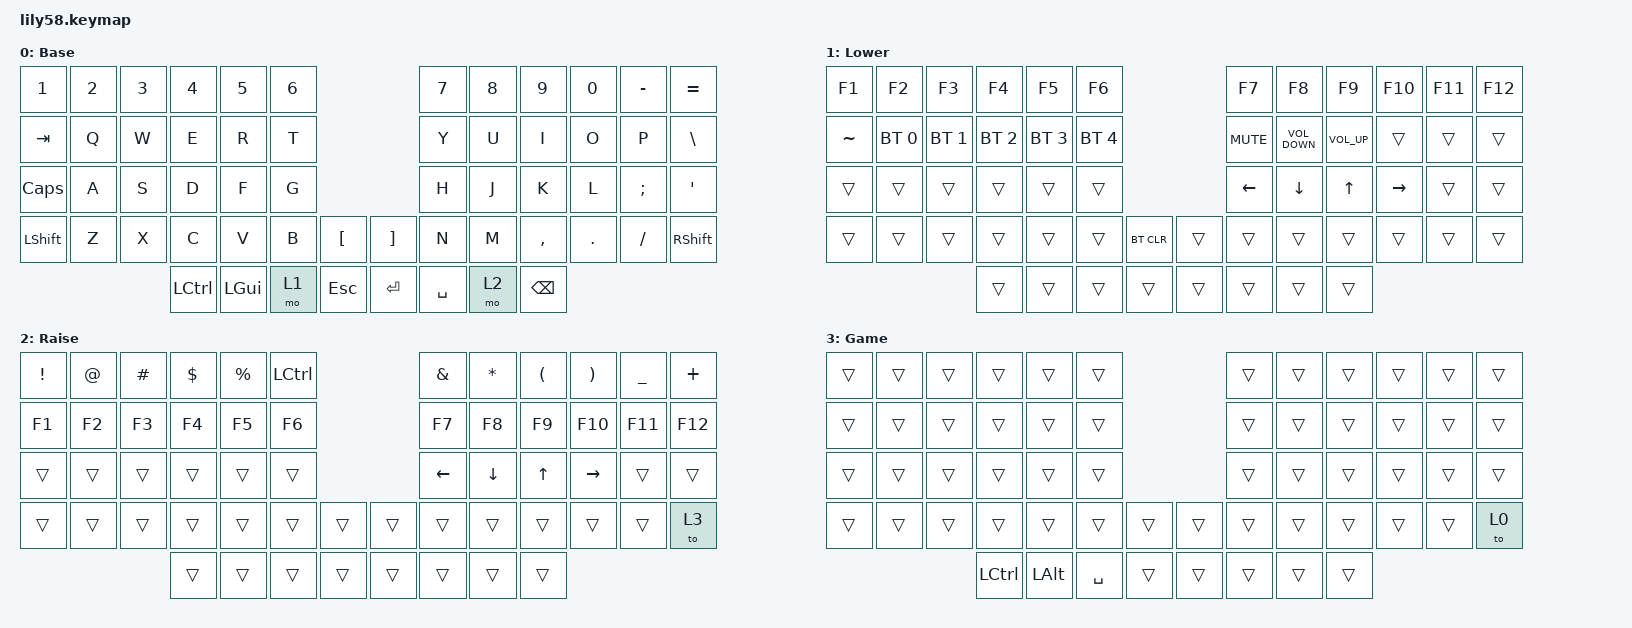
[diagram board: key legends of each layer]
/*
 * Copyright (c) 2020 The ZMK Contributors
 *
 * SPDX-License-Identifier: MIT
 */

#include <behaviors.dtsi>
#include <dt-bindings/zmk/bt.h>
#include <dt-bindings/zmk/keys.h>

/ {
    keymap {
        compatible = "zmk,keymap";

        default_layer {
            // ------------------------------------------------------------------------------------------------------------
            // |  ESC  |  1  |  2  |  3   |  4   |  5   |                   |  6   |  7    |  8    |  9   |   0   |   `   |
            // |  TAB  |  Q  |  W  |  E   |  R   |  T   |                   |  Y   |  U    |  I    |  O   |   P   |   -   |
            // |  CTRL |  A  |  S  |  D   |  F   |  G   |                   |  H   |  J    |  K    |  L   |   ;   |   '   |
            // | SHIFT |  Z  |  X  |  C   |  V   |  B   |   "["  |  |  "]"  |  N   |  M    |  ,    |  .   |   /   | SHIFT |
            //                     | ALT  | GUI  | LOWER|  SPACE |  | ENTER | RAISE| BSPC  | GUI   |

            display-name = "Base";
            bindings = <
&kp NUMBER_1  &kp NUMBER_2  &kp NUMBER_3  &kp NUMBER_4      &kp N5    &kp NUMBER_6                           &kp N7     &kp N8  &kp N9         &kp N0   &kp MINUS  &kp EQUAL
&kp TAB       &kp Q         &kp W         &kp E             &kp R     &kp T                                  &kp Y      &kp U   &kp I          &kp O    &kp P      &kp BACKSLASH
&kp CAPSLOCK  &kp A         &kp S         &kp D             &kp F     &kp G                                  &kp H      &kp J   &kp K          &kp L    &kp SEMI   &kp SQT
&kp LSHFT     &kp Z         &kp X         &kp C             &kp V     &kp B         &kp LBKT      &kp RBKT   &kp N      &kp M   &kp COMMA      &kp DOT  &kp FSLH   &kp RIGHT_SHIFT
                                          &kp LEFT_CONTROL  &kp LGUI  &mo 1         &kp ESCAPE    &kp ENTER  &kp SPACE  &mo 2   &kp BACKSPACE
            >;
        };

        lower_layer {
            // ------------------------------------------------------------------------------------------------------------
            // | BTCLR | BT1 | BT2 |  BT3 |  BT4 |  BT5 |                   |      |       |       |      |       |       |
            // |  F1   |  F2 |  F3 |  F4  |  F5  |  F6  |                   |  F7  |  F8   |  F9   |  F10 |  F11  |  F12  |
            // |   `   |  !  |  @  |  #   |  $   |  %   |                   |  ^   |  &    |  *    |  (   |   )   |   ~   |
            // |       |     |     |      |      |      |        |  |       |      |  _    |  +    |  {   |   }   |  "|"  |
            //                     |      |      |      |        |  |       |      |       |       |

            display-name = "Lower";
            bindings = <
&kp F1     &kp F2        &kp F3        &kp F4        &kp F5        &kp F6                              &kp F7      &kp F8             &kp F9           &kp F10    &kp F11  &kp F12
&kp TILDE  &bt BT_SEL 0  &bt BT_SEL 1  &bt BT_SEL 2  &bt BT_SEL 3  &bt BT_SEL 4                        &kp C_MUTE  &kp C_VOLUME_DOWN  &kp C_VOLUME_UP  &trans     &trans   &trans
&trans     &trans        &trans        &trans        &trans        &trans                              &kp LEFT    &kp DOWN_ARROW     &kp UP_ARROW     &kp RIGHT  &trans   &trans
&trans     &trans        &trans        &trans        &trans        &trans        &bt BT_CLR    &trans  &trans      &trans             &trans           &trans     &trans   &trans
                                       &trans        &trans        &trans        &trans        &trans  &trans      &trans             &trans
            >;
        };

        raise_layer {
            // ------------------------------------------------------------------------------------------------------------
            // |       |     |     |      |      |      |                   |      |       |       |      |       |       |
            // |   `   |  1  |  2  |  3   |  4   |  5   |                   |  6   |   7   |   8   |  9   |   0   |       |
            // |   F1  |  F2 |  F3 |  F4  |  F5  |  F6  |                   |      |   <-  |   v   |  ^   |  ->   |       |
            // |   F7  |  F8 |  F9 |  F10 |  F11 |  F12 |        |  |       |  +   |   -   |   =   |  [   |   ]   |   \   |
            //                     |      |      |      |        |  |       |      |       |       |

            display-name = "Raise";
            bindings = <
&kp EXCLAMATION  &kp AT_SIGN  &kp HASH  &kp DOLLAR  &kp PERCENT  &kp LCTRL                    &kp AMPERSAND  &kp ASTERISK  &kp LEFT_PARENTHESIS  &kp RIGHT_PARENTHESIS  &kp UNDERSCORE  &kp PLUS
&kp F1           &kp F2       &kp F3    &kp F4      &kp F5       &kp F6                       &kp F7         &kp F8        &kp F9                &kp F10                &kp F11         &kp F12
&trans           &trans       &trans    &trans      &trans       &trans                       &kp LEFT       &kp DOWN      &kp UP                &kp RIGHT              &trans          &trans
&trans           &trans       &trans    &trans      &trans       &trans     &trans    &trans  &trans         &trans        &trans                &trans                 &trans          &to 3
                                        &trans      &trans       &trans     &trans    &trans  &trans         &trans        &trans
            >;
        };

        game_layer {
            bindings = <
&trans  &trans  &trans  &trans            &trans        &trans                       &trans  &trans  &trans  &trans  &trans  &trans
&trans  &trans  &trans  &trans            &trans        &trans                       &trans  &trans  &trans  &trans  &trans  &trans
&trans  &trans  &trans  &trans            &trans        &trans                       &trans  &trans  &trans  &trans  &trans  &trans
&trans  &trans  &trans  &trans            &trans        &trans     &trans    &trans  &trans  &trans  &trans  &trans  &trans  &to 0
                        &kp LEFT_CONTROL  &kp LEFT_ALT  &kp SPACE  &trans    &trans  &trans  &trans  &trans
            >;

            label = "Game";
        };
    };
};
